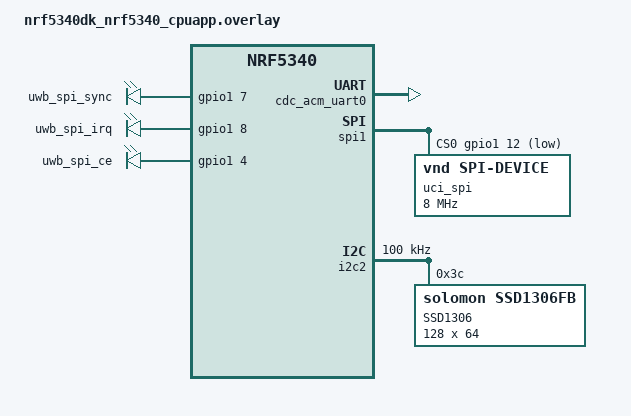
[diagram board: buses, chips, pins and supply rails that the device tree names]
/*
 * DTS Overlay for 5340 devkit, running Main app
 */

&zephyr_udc0 {
	cdc_acm_uart0: cdc_acm_uart0 {
		compatible = "zephyr,cdc-acm-uart";
		label = "CDC_ACM_0";
		hw-flow-control;
	};
};

spi1: &spi1 {
	compatible = "nordic,nrf-spim";
	status = "okay";
	cs-gpios = <&gpio1 12 GPIO_ACTIVE_LOW>;

	pinctrl-0 = <&spi1_default>;
	pinctrl-1 = <&spi1_sleep>;
	pinctrl-names = "default", "sleep";

	uci_spi: spi1@0 {
		compatible = "vnd,spi-device";
		status = "okay";
		reg = <0>;
		spi-max-frequency = <8000000>;
	};
};

&uart1 {
	compatible = "nordic,nrf-uarte";
    status = "disabled";
};

&i2c1 {
	compatible = "nordic,nrf-twim";
    status = "disabled";
};

&i2c2 {
    compatible = "nordic,nrf-twim";
	zephyr,flash-buf-max-size = <2048>;
    status = "okay";
    clock-frequency = <I2C_BITRATE_STANDARD>;
    pinctrl-0 = <&i2c2_default>;
    pinctrl-1 = <&i2c2_sleep>;
    pinctrl-names = "default", "sleep";

	/* SSD1306 OLED display */
    display: ssd1306@3c {
        compatible = "solomon,ssd1306fb";
        reg = <0x3c>;
        label = "SSD1306";
        height = <64>;
        width  = <128>;
        segment-offset  = <0>;
        page-offset     = <0>;
        display-offset  = <0>;
        multiplex-ratio = <31>;
        prechargep      = <0xD1>;
        segment-remap;
        com-invdir;
        com-sequential;
    };
};

#include "nrf5340dk_nrf5340-pinctrl.dtsi"


/ {
	gpio {
		compatible = "gpio-leds";

		// sync
		uwb_spi_sync: uwb_gpio_1 {
			gpios = <&gpio1 7 (GPIO_ACTIVE_HIGH)>;
		};

		// irq
		uwb_spi_irq: uwb_gpio_2 {
			gpios = <&gpio1 8 (GPIO_ACTIVE_HIGH)>;
		};

		// ce
		uwb_spi_ce: uwb_gpio_3 {
			gpios = <&gpio1 4 (GPIO_ACTIVE_HIGH)>;
		};
	};

	chosen {
		nordic,pm-ext-flash = &mx25r64;
	};
};


